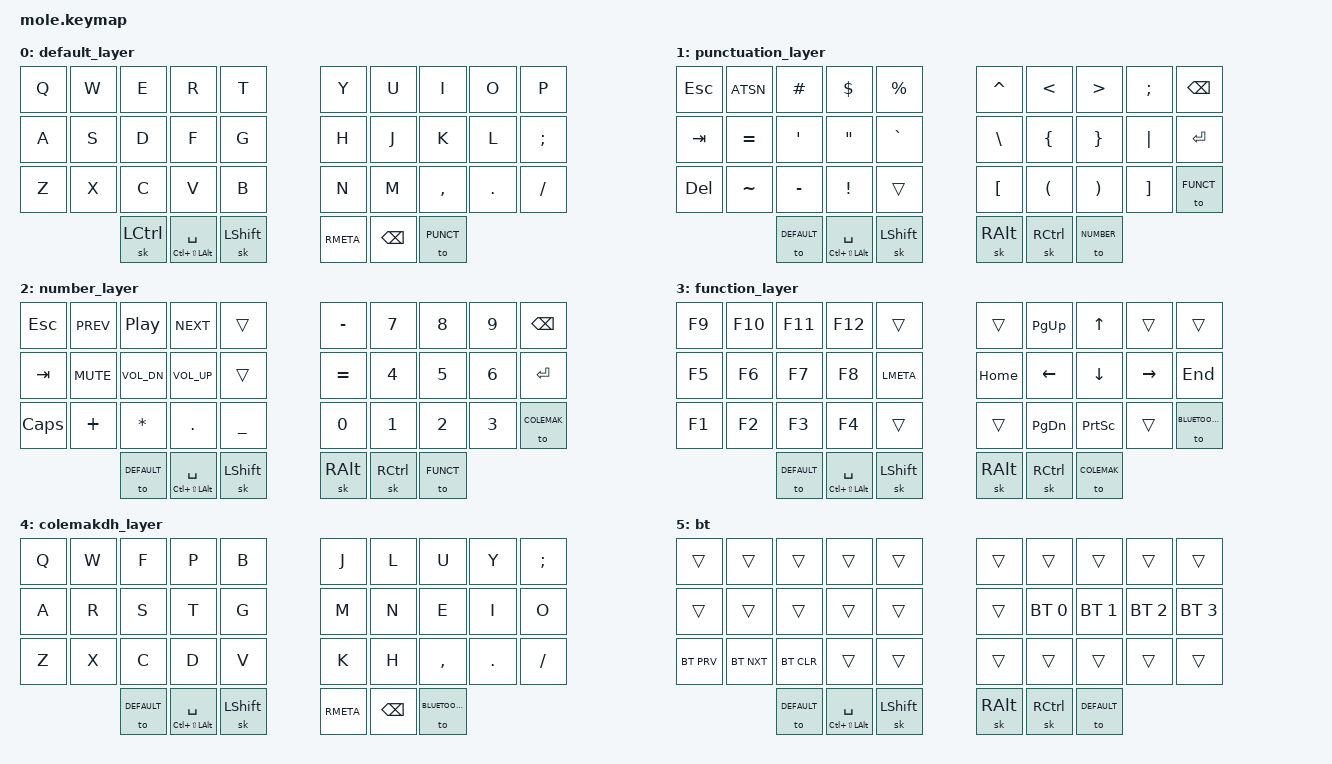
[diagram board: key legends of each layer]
#include <behaviors.dtsi>
#include <dt-bindings/zmk/keys.h>
#include <dt-bindings/zmk/bt.h>

#define DEFAULT   0
#define PUNCT     1
#define NUMBER    2
#define FUNCT     3
#define COLEMAK   4
#define BLUETOOTH 5


&mt {
    flavor = "tap-preferred";
    tapping_term_ms = <200>;
};

/ { 
        keymap {
                compatible = "zmk,keymap";
                
                default_layer {
        bindings = <
        &kp Q &kp W &kp E &kp R &kp T                            &kp Y &kp U &kp I &kp O &kp P 
        &kp A &kp S &kp D &kp F &kp G                            &kp H &kp J &kp K &kp L &kp SEMI
        &kp Z &kp X &kp C &kp V &kp B                            &kp N &kp M &kp COMMA &kp DOT &kp SLASH
        &sk LCTRL &mt LC(LS(LALT)) SPC &sk LSHIFT                &kp RMETA &kp BKSP &to PUNCT
        >;
        };

                punctuation_layer {
        bindings = <
        &kp ESC &kp ATSN &kp HASH &kp DLLR &kp PRCNT             &kp CARET &kp LT &kp GT &kp SEMI &kp BKSP
        &kp TAB &kp EQUAL &kp SQT &kp DQT &kp GRAVE              &kp BSLH &kp LBRC &kp RBRC &kp PIPE &kp ENTER
        &kp DEL &kp TILDE &kp MINUS &kp EXCL &trans              &kp LBKT &kp LPRN &kp RPRN &kp RBKT &to FUNCT
        &to DEFAULT &mt LC(LS(LALT)) SPC &sk LSHIFT              &sk RALT &sk RCTRL &to NUMBER 
        >;
        };
        
                number_layer {
        bindings = <
        &kp ESC &kp C_PREV &kp C_PP &kp C_NEXT &trans            &kp MINUS &kp N7 &kp N8 &kp N9 &kp BKSP
        &kp TAB &kp C_MUTE &kp C_VOL_DN &kp C_VOL_UP &trans      &kp EQUAL &kp N4 &kp N5 &kp N6  &kp ENTER
        &kp CAPS &kp PLUS &kp STAR &kp DOT &kp UNDER             &kp N0 &kp N1 &kp N2 &kp N3 &to COLEMAK
        &to DEFAULT &mt LC(LS(LALT)) SPC &sk LSHIFT              &sk RALT &sk RCTRL &to FUNCT
        >;
        };
        
                function_layer {
        bindings = <
        &kp F9 &kp F10 &kp F11 &kp F12 &trans                    &trans &kp PAGE_UP &kp UP_ARROW &trans &trans        
        &kp F5 &kp F6 &kp F7 &kp F8 &kp LMETA                    &kp HOME  &kp LEFT_ARROW &kp DOWN_ARROW &kp RIGHT_ARROW &kp END
        &kp F1 &kp F2 &kp F3 &kp F4 &trans                       &trans &kp PAGE_DOWN &kp PRINTSCREEN &trans &to BLUETOOTH
        &to DEFAULT &mt LC(LS(LALT)) SPC &sk LSHIFT              &sk RALT &sk RCTRL &to COLEMAK
        >;
        };

                colemakdh_layer {
        bindings = <
        &kp Q &kp W &kp F &kp P &kp B                            &kp J &kp L &kp U &kp Y &kp SEMI 
        &kp A &kp R &kp S &kp T &kp G                            &kp M &kp N &kp E &kp I &kp O 
        &kp Z &kp X &kp C &kp D &kp V                            &kp K &kp H &kp COMMA &kp DOT &kp SLASH
        &to DEFAULT &mt LC(LS(LALT)) SPC &sk LSHIFT              &kp RMETA &kp BKSP &to BLUETOOTH
        >;
        };

                bt {
        bindings = <
        &trans &trans &trans &trans &trans                       &trans &trans &trans &trans &trans 
        &trans &trans &trans &trans &trans                       &trans  &bt BT_SEL 0 &bt BT_SEL 1 &bt BT_SEL 2 &bt BT_SEL 3
        &bt BT_PRV &bt BT_NXT &bt BT_CLR &trans &trans           &trans &trans &trans &trans &trans 
        &to DEFAULT &mt LC(LS(LALT)) SPC &sk LSHIFT              &sk RALT &sk RCTRL &to DEFAULT
        >;
        };
    };
};
